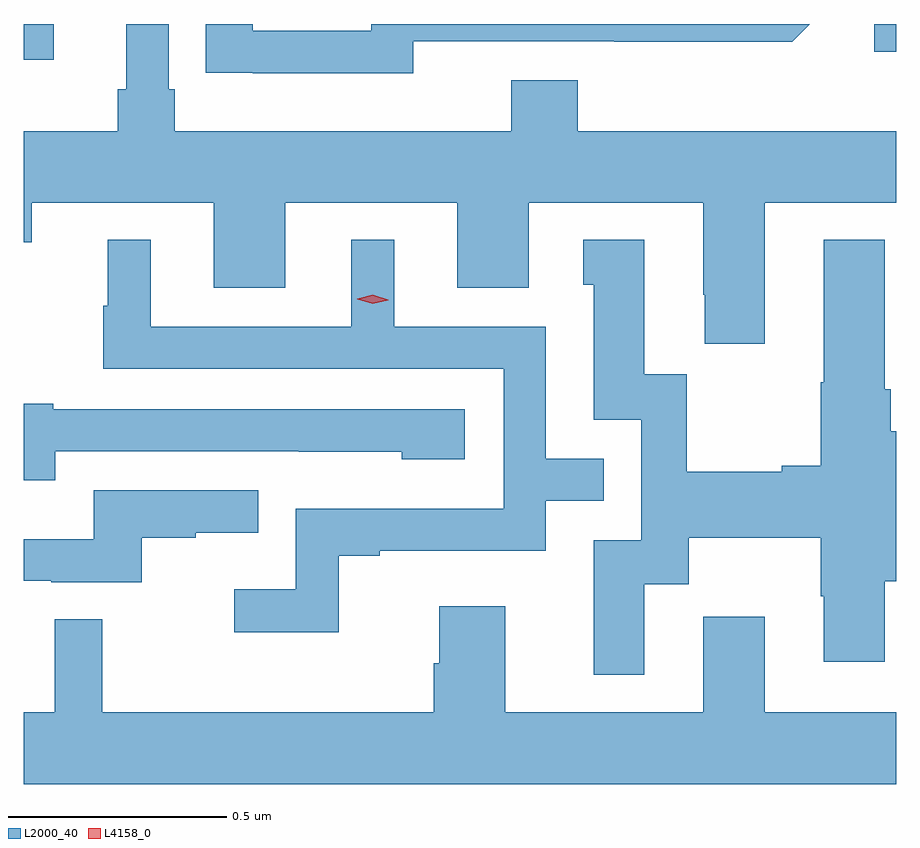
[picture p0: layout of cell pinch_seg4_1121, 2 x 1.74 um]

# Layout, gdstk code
import gdstk
lib = gdstk.Library(unit=1e-6, precision=1e-09)
def R(c, l, rs):  # rectangles x0, y0, x1, y1
    for r in rs: c.add(gdstk.rectangle(r[:2], r[2:], *l))
def P(c, l, *ps):  # polygons
    for p in ps: c.add(gdstk.Polygon(p, *l))
L2000_40 = (2000, 40)
L4158_0 = (4158, 0)

pinch_seg4_1121 = lib.new_cell('pinch_seg4_1121')
R(pinch_seg4_1121, L2000_40, [(574.141,799.812,574.21,799.894), (576.09,799.83,576.141,799.894)])
P(pinch_seg4_1121, L2000_40, [(575.839,799.484),(576.141,799.484),(576.141,799.648),(575.411,799.648),(575.411,799.765),(575.258,799.765),(575.258,799.648),(574.487,799.648),(574.487,799.744),(574.473,799.744),(574.473,799.894),(574.376,799.894),(574.376,799.744),(574.357,799.744),(574.357,799.648),(574.141,799.648),(574.141,799.394),(574.159,799.394),(574.159,799.484),(574.577,799.484),(574.577,799.29),(574.741,799.29),(574.741,799.484),(575.135,799.484),(575.135,799.29),(575.299,799.29),(575.299,799.484),(575.699,799.484),(575.699,799.273),(575.702,799.273),(575.702,799.161),(575.839,799.161)],
  [(575.034,799.854),(575.494,799.854),(575.494,799.853),(575.902,799.853),(575.943,799.894),(574.938,799.894),(574.938,799.878),(574.666,799.878),(574.666,799.894),(574.558,799.894),(574.558,799.782),(574.666,799.782),(574.666,799.781),(575.034,799.781)],
  [(574.863,798.675),(574.957,798.675),(574.957,798.687),(575.337,798.687),(575.337,798.801),(575.471,798.801),(575.471,798.897),(575.337,798.897),(575.337,799.2),(574.99,799.2),(574.99,799.399),(574.892,799.399),(574.892,799.2),(574.432,799.2),(574.432,799.399),(574.334,799.399),(574.334,799.248),(574.323,799.248),(574.323,799.104),(575.241,799.104),(575.241,798.783),(574.764,798.783),(574.764,798.598),(574.623,798.598),(574.623,798.5),(574.863,798.5)],
  [(575.563,798.61),(575.665,798.61),(575.665,798.716),(575.968,798.716),(575.968,798.582),(575.975,798.582),(575.975,798.432),(576.115,798.432),(576.115,798.617),(576.141,798.617),(576.141,798.961),(576.128,798.961),(576.128,799.057),(576.115,799.057),(576.115,799.399),(575.975,799.399),(575.975,799.073),(575.968,799.073),(575.968,798.881),(575.879,798.881),(575.879,798.868),(575.661,798.868),(575.661,799.091),(575.563,799.091),(575.563,799.399),(575.423,799.399),(575.423,799.296),(575.447,799.296),(575.447,798.987),(575.556,798.987),(575.556,798.711),(575.447,798.711),(575.447,798.402),(575.563,798.402)],
  [(574.213,798.915),(574.771,798.915),(574.771,798.914),(575.007,798.914),(575.007,798.896),(575.152,798.896),(575.152,799.011),(574.209,799.011),(574.209,799.024),(574.141,799.024),(574.141,798.848),(574.213,798.848)],
  [(574.412,798.717),(574.535,798.717),(574.535,798.728),(574.679,798.728),(574.679,798.825),(574.302,798.825),(574.302,798.713),(574.141,798.713),(574.141,798.618),(574.204,798.618),(574.204,798.615),(574.412,798.615)],
  [(576.141,798.316),(575.839,798.316),(575.839,798.535),(575.699,798.535),(575.699,798.316),(575.245,798.316),(575.245,798.559),(575.093,798.559),(575.093,798.429),(575.081,798.429),(575.081,798.316),(574.321,798.316),(574.321,798.53),(574.212,798.53),(574.212,798.316),(574.141,798.316),(574.141,798.152),(576.141,798.152)])
P(pinch_seg4_1121, L4158_0, [(574.941,799.253),(574.905,799.263),(574.905,799.264),(574.905,799.264),(574.941,799.273),(574.977,799.262),(574.977,799.262),(574.977,799.261)])

lib.write_gds('pinch_seg4_1121.gds')
